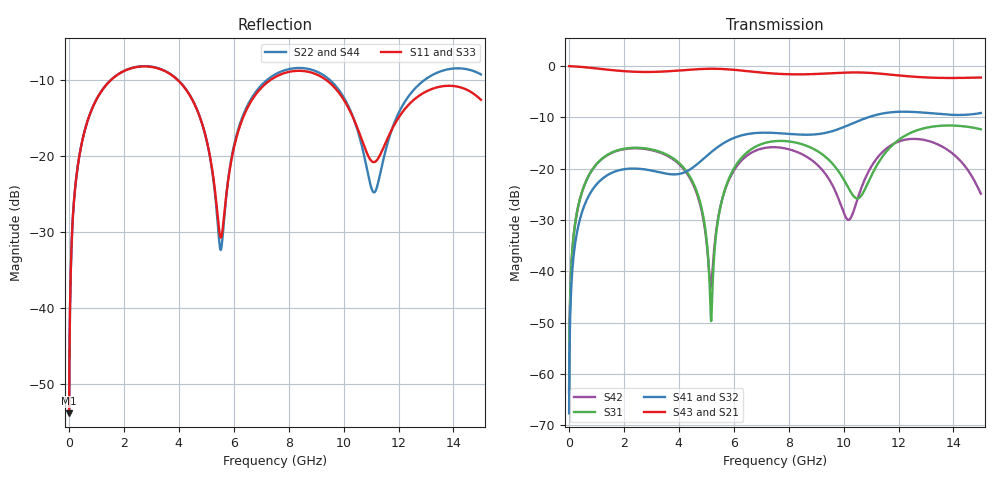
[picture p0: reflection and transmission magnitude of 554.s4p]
! Created with skrf 1.8.0 (http://scikit-rf.org).
# GHz S RI R 50.0
!freq ReS11 ImS11 ReS12 ImS12 ReS13 ImS13
! ReS14 ImS14
! ReS21 ImS21 ReS22 ImS22 ReS23 ImS23
! ReS24 ImS24
! ReS31 ImS31 ReS32 ImS32 ReS33 ImS33
! ReS34 ImS34
! ReS41 ImS41 ReS42 ImS42 ReS43 ImS43
! ReS44 ImS44
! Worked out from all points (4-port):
!   2499 points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, 5 MHz to 15 GHz, reference 50 ohm
!   strongest paths, dB at 5 MHz, 3.476 GHz, 7.19 GHz, 11.1 GHz, 15 GHz:
!     S43: 0.0, -1.0, -1.3, -1.4, -2.2
!     S21: 0.0, -1.0, -1.3, -1.4, -2.3
!     S41: -67.6, -20.9, -13.0, -9.6, -9.1
!     S32: -67.6, -21.0, -13.0, -9.6, -9.2
!     S31: -63.6, -17.0, -14.9, -20.4, -12.3
!     S42: -63.6, -17.2, -15.9, -18.8, -24.9
!   lowest |S11| = -53.8 dB at 5 MHz (marker M1), VSWR 1.00, Z = 50.2 + j0.124 ohm
!   |S11| at or under -10 dB: start of sweep to 1.512 GHz; 3.976 GHz to 7.313 GHz (3.337 GHz wide, 59.1 % of centre); 9.391 GHz to end of sweep
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0.005  0.00162 0.00123  0.9983 -0.00316  8.17e-05 0.000652  -7.93e-05 -0.000407
       0.9983 -0.00316  0.00162 0.00123  -7.93e-05 -0.000407  8.17e-05 0.000652
       8.17e-05 0.000652  -7.93e-05 -0.000407  0.00162 0.00123  0.9983 -0.00316
       -7.93e-05 -0.000407  8.17e-05 0.000652  0.9983 -0.00316  0.00162 0.00123
0.3626511  0.0296 0.0924  0.9591 -0.2261  0.0144 0.0441  -0.0118 -0.027
           0.9591 -0.2261  0.0297 0.0924  -0.0118 -0.027  0.0141 0.0441
           0.0144 0.0441  -0.0118 -0.027  0.0296 0.0924  0.9591 -0.2261
           -0.0118 -0.027  0.0141 0.0441  0.9591 -0.2261  0.0297 0.0924
1.619545  0.2789 0.1747  0.5278 -0.7419  0.1347 0.0573  -0.0927 -0.00236
          0.5278 -0.7419  0.2803 0.1736  -0.0925 -0.00266  0.1316 0.0617
          0.1347 0.0573  -0.0925 -0.00266  0.2791 0.1745  0.5279 -0.7418
          -0.0927 -0.00236  0.1316 0.0617  0.5279 -0.7418  0.2801 0.1738
5.177157  0.0446 -0.0787  -0.9043 -0.2637  -0.00327 0.000217  -0.0343 0.141
          -0.9043 -0.2637  0.0391 -0.0799  -0.0385 0.1398  -0.00702 0.00108
          -0.00327 0.000217  -0.0385 0.1398  0.0433 -0.0789  -0.9043 -0.2638
          -0.0343 0.141  -0.00702 0.00108  -0.9043 -0.2638  0.0403 -0.0794
8.603585  0.3627 -0.026  0.0147 0.8314  0.1222 -0.1171  0.2043 -0.0656
          0.0147 0.8314  0.3768 -0.0472  0.2046 -0.0553  0.1193 -0.0598
          0.1222 -0.1171  0.2046 -0.0553  0.3631 -0.0281  0.0143 0.8318
          0.2043 -0.0656  0.1193 -0.0598  0.0143 0.8318  0.3745 -0.0454
11.34848  0.1 0.0283  0.8433 -0.00051  0.0399 0.117  -0.0251 -0.3415
          0.8433 -0.00051  0.0683 0.0402  -0.00661 -0.3424  0.0169 0.1384
          0.0399 0.117  -0.00661 -0.3424  0.0974 0.0314  0.8435 0.000113
          -0.0251 -0.3415  0.0169 0.1384  0.8435 0.000113  0.0709 0.0378
15  0.2274 -0.0626  -0.2813 -0.7187  -0.0266 -0.2408  -0.3082 0.1644
    -0.2813 -0.7187  0.31 -0.155  -0.3187 0.1362  0.057 0.00363
    -0.0266 -0.2408  -0.3187 0.1362  0.2182 -0.0716  -0.2819 -0.721
    -0.3082 0.1644  0.057 0.00363  -0.2819 -0.721  0.303 -0.1492
